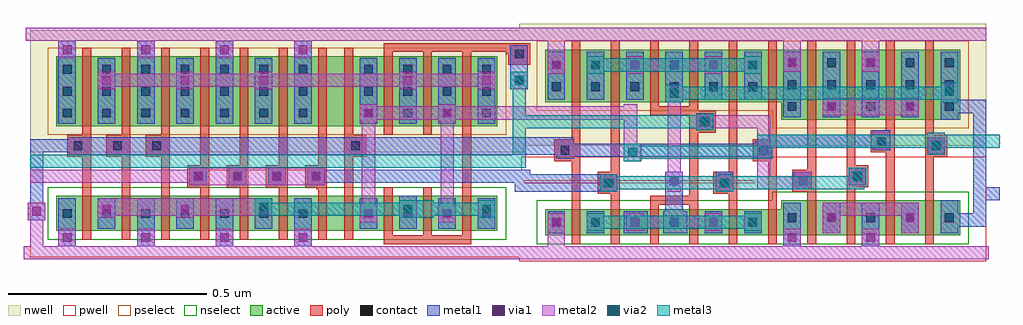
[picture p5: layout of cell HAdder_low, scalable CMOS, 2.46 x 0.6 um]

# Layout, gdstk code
import gdstk
lib = gdstk.Library(unit=1e-6, precision=1e-11)
def R(c, l, rs):  # rectangles x0, y0, x1, y1
    for r in rs: c.add(gdstk.rectangle(r[:2], r[2:], *l))
def A(c, l, x, y, w, h, nx, ny, dx, dy):  # array of equal rectangles
    R(c, l, [(x+i*dx, y+j*dy, x+i*dx+w, y+j*dy+h) for i in range(nx) for j in range(ny)])
contact = (25, 0)
pwell = (41, 0)
nwell = (42, 0)
active = (43, 0)
pselect = (44, 0)
nselect = (45, 0)
poly = (46, 0)
metal1 = (49, 0)
via1 = (50, 0)
metal2 = (51, 0)
via2 = (61, 0)
metal3 = (62, 0)

hadder_low = lib.new_cell('HAdder_low')
A(hadder_low, contact, -0.2585, -0.2585, 0.022, 0.022, 6, 2, 0.099, 0.341)
A(hadder_low, contact, 0.3355, -0.2475, 0.022, 0.022, 5, 2, 0.099, 0.2805)
A(hadder_low, contact, -1.4905, -0.2365, 0.022, 0.022, 7, 2, 0.099, 0.253)
A(hadder_low, contact, -0.7315, -0.2365, 0.022, 0.022, 4, 2, 0.099, 0.253)
A(hadder_low, contact, -1.1605, -0.143, 0.022, 0.022, 4, 1, 0.099, 0)
A(hadder_low, contact, -1.463, -0.066, 0.022, 0.022, 3, 1, 0.099, 0)
A(hadder_low, contact, -1.4905, 0.0715, 0.022, 0.022, 7, 2, 0.099, 0.055)
A(hadder_low, contact, -0.7315, 0.0715, 0.022, 0.022, 4, 2, 0.099, 0.055)
A(hadder_low, contact, 0.3355, 0.088, 0.022, 0.022, 5, 2, 0.099, 0.055)
A(hadder_low, contact, -0.2585, 0.1375, 0.022, 0.022, 6, 1, 0.099, 0)
R(hadder_low, contact, [(-0.1265,-0.1595,-0.1045,-0.1375), (0.165,-0.1595,0.187,-0.1375), (0.363,-0.154,0.385,-0.132), (0.5005,-0.143,0.5225,-0.121), (-0.2365,-0.077,-0.2145,-0.055), (0.264,-0.077,0.286,-0.055), (-0.7645,-0.066,-0.7425,-0.044), (0.6985,-0.066,0.7205,-0.044), (0.561,-0.055,0.583,-0.033), (0.1155,-0.0055,0.1375,0.0165), (-0.352,0.165,-0.33,0.187)])
A(hadder_low, pwell, -0.341, -0.3465, 0.187, 0.198, 6, 1, 0.099, 0)
A(hadder_low, pwell, -0.308, -0.3465, 0.22, 0.198, 6, 1, 0.099, 0)
A(hadder_low, pwell, 0.253, -0.3465, 0.187, 0.22, 5, 1, 0.099, 0)
A(hadder_low, pwell, 0.286, -0.3465, 0.22, 0.22, 4, 1, 0.099, 0)
A(hadder_low, pwell, -1.573, -0.3355, 0.187, 0.22, 7, 1, 0.099, 0)
A(hadder_low, pwell, -1.54, -0.3355, 0.22, 0.22, 7, 1, 0.099, 0)
A(hadder_low, pwell, -0.88, -0.3355, 0.22, 0.22, 4, 1, 0.099, 0)
A(hadder_low, pwell, -0.814, -0.3355, 0.187, 0.22, 4, 1, 0.099, 0)
R(hadder_low, pwell, [(-0.2475,-0.33,-0.2392,-0.165), (-0.2392,-0.33,-0.066,-0.165), (-0.1567,-0.33,-0.1485,-0.165), (-0.1485,-0.33,-0.1402,-0.165), (-0.0577,-0.33,-0.0495,-0.165), (-0.0495,-0.33,-0.0412,-0.165), (0.0412,-0.33,0.0495,-0.165), (0.0495,-0.33,0.0577,-0.165), (0.1402,-0.33,0.1485,-0.165), (0.1485,-0.33,0.1567,-0.165), (0.2392,-0.33,0.2475,-0.165), (0.2475,-0.33,0.2557,-0.165), (0.3382,-0.319,0.3465,-0.154), (0.3465,-0.319,0.3547,-0.154), (0.4372,-0.319,0.4455,-0.154), (0.4455,-0.319,0.4537,-0.154), (0.5363,-0.319,0.5445,-0.154), (0.5445,-0.319,0.5527,-0.154), (0.6352,-0.319,0.6435,-0.154), (0.6435,-0.319,0.6517,-0.154), (0.7342,-0.319,0.7425,-0.154), (-1.562,-0.297,-1.3887,-0.132), (-1.3887,-0.297,-1.3805,-0.132), (-1.3805,-0.297,-1.3722,-0.132), (-1.2897,-0.297,-1.2815,-0.132), (-1.2815,-0.297,-1.2732,-0.132), (-1.1907,-0.297,-1.1825,-0.132), (-1.1825,-0.297,-1.1742,-0.132), (-1.0917,-0.297,-1.0835,-0.132), (-1.0835,-0.297,-1.0752,-0.132), (-0.9927,-0.297,-0.9845,-0.132), (-0.9845,-0.297,-0.9762,-0.132), (-0.8937,-0.297,-0.8855,-0.132), (-0.8855,-0.297,-0.8772,-0.132), (-0.8112,-0.297,-0.7947,-0.132), (-0.7287,-0.297,-0.7205,-0.132), (-0.7205,-0.297,-0.7122,-0.132), (-0.6297,-0.297,-0.6215,-0.132), (-0.6215,-0.297,-0.6132,-0.132), (-0.5307,-0.297,-0.5225,-0.132), (-0.5225,-0.297,-0.5142,-0.132), (-0.4317,-0.297,-0.4235,-0.132), (-0.3355,-0.143,0.836,-0.11), (-0.3355,-0.1155,0.836,-0.0825)])
A(hadder_low, nwell, -1.573, -0.0715, 0.187, 0.308, 7, 1, 0.099, 0)
A(hadder_low, nwell, -1.54, -0.0715, 0.22, 0.308, 7, 1, 0.099, 0)
A(hadder_low, nwell, -0.88, -0.0715, 0.22, 0.308, 4, 1, 0.099, 0)
A(hadder_low, nwell, -0.814, -0.0715, 0.187, 0.308, 4, 1, 0.099, 0)
A(hadder_low, nwell, 0.253, -0.055, 0.187, 0.308, 5, 1, 0.099, 0)
A(hadder_low, nwell, 0.286, -0.055, 0.22, 0.308, 4, 1, 0.099, 0)
A(hadder_low, nwell, -0.341, -0.011, 0.187, 0.264, 6, 1, 0.099, 0)
A(hadder_low, nwell, -0.308, -0.011, 0.22, 0.264, 6, 1, 0.099, 0)
R(hadder_low, nwell, [(-0.3465,-0.055,0.253,-0.033), (0.3465,-0.055,0.3547,0.253), (0.4455,-0.055,0.4537,0.253), (0.5363,-0.055,0.5445,0.253), (0.5445,-0.055,0.5527,0.253), (0.6352,-0.055,0.6435,0.253), (0.6435,-0.055,0.6517,0.253), (0.7342,-0.055,0.7425,0.253), (-0.341,-0.033,0.2585,-0.011), (-0.8112,-0.0165,-0.7947,0.1485), (0.3382,-0.011,0.3465,0.253), (-1.562,0,-1.3887,0.165), (-1.4712,0,-1.298,0.165), (-1.463,0,-1.2897,0.165), (-1.3722,0,-1.199,0.165), (-1.364,0,-1.1907,0.165), (-1.2732,0,-1.1,0.165), (-1.265,0,-1.0917,0.165), (-1.1742,0,-1.001,0.165), (-1.166,0,-0.9927,0.165), (-1.0752,0,-0.902,0.165), (-1.067,0,-0.8937,0.165), (-0.9762,0,-0.803,0.165), (-0.968,0,-0.7947,0.165), (-0.7287,0,-0.7205,0.165), (-0.7205,0,-0.7122,0.165), (-0.6297,0,-0.6215,0.165), (-0.6215,0,-0.6132,0.165), (-0.5307,0,-0.5225,0.165), (-0.5225,0,-0.5142,0.165), (-0.4317,0,-0.4235,0.165), (0.4372,0.0165,0.4455,0.1815), (-0.2475,0.0385,-0.2392,0.2035), (-0.1567,0.0385,-0.1485,0.2035), (-0.1485,0.0385,-0.1402,0.2035), (-0.0495,0.0385,-0.0412,0.2035), (0.0412,0.0385,0.0495,0.2035), (0.0495,0.0385,0.0577,0.2035), (0.1402,0.0385,0.1485,0.2035), (0.1485,0.0385,0.1567,0.2035), (0.2392,0.0385,0.2475,0.2035), (0.2475,0.0385,0.2557,0.2035), (-0.0577,0.044,-0.0495,0.209)])
A(hadder_low, active, -0.275, -0.2805, 0.055, 0.066, 6, 1, 0.099, 0)
A(hadder_low, active, -0.242, -0.2805, 0.088, 0.066, 6, 1, 0.099, 0)
A(hadder_low, active, 0.319, -0.2805, 0.055, 0.088, 5, 1, 0.099, 0)
A(hadder_low, active, 0.352, -0.2805, 0.088, 0.088, 4, 1, 0.099, 0)
A(hadder_low, active, -1.507, -0.2695, 0.055, 0.088, 7, 1, 0.099, 0)
A(hadder_low, active, -1.474, -0.2695, 0.088, 0.088, 7, 1, 0.099, 0)
A(hadder_low, active, -0.814, -0.2695, 0.088, 0.088, 4, 1, 0.099, 0)
A(hadder_low, active, -0.748, -0.2695, 0.055, 0.088, 4, 1, 0.099, 0)
A(hadder_low, active, -1.507, -0.0055, 0.055, 0.176, 7, 1, 0.099, 0)
A(hadder_low, active, -1.474, -0.0055, 0.088, 0.176, 7, 1, 0.099, 0)
A(hadder_low, active, -0.814, -0.0055, 0.088, 0.176, 4, 1, 0.099, 0)
A(hadder_low, active, -0.748, -0.0055, 0.055, 0.176, 4, 1, 0.099, 0)
A(hadder_low, active, 0.319, 0.011, 0.055, 0.176, 5, 1, 0.099, 0)
A(hadder_low, active, 0.352, 0.011, 0.088, 0.176, 4, 1, 0.099, 0)
A(hadder_low, active, -0.275, 0.055, 0.055, 0.132, 6, 1, 0.099, 0)
A(hadder_low, active, -0.242, 0.055, 0.088, 0.132, 6, 1, 0.099, 0)
R(hadder_low, active, [(-0.2475,-0.264,-0.2392,-0.231), (-0.1732,-0.264,-0.132,-0.231), (-0.1567,-0.264,-0.1485,-0.231), (-0.1485,-0.264,-0.1402,-0.231), (-0.0577,-0.264,-0.0495,-0.231), (-0.0495,-0.264,-0.0412,-0.231), (0.0412,-0.264,0.0495,-0.231), (0.0495,-0.264,0.0577,-0.231), (0.1402,-0.264,0.1485,-0.231), (0.1485,-0.264,0.1567,-0.231), (0.2392,-0.264,0.2475,-0.231), (0.2475,-0.264,0.2557,-0.231), (0.3382,-0.253,0.3465,-0.22), (0.3465,-0.253,0.3547,-0.22), (0.4372,-0.253,0.4455,-0.22), (0.4455,-0.253,0.4537,-0.22), (0.5363,-0.253,0.5445,-0.22), (0.5445,-0.253,0.5527,-0.22), (0.6352,-0.253,0.6435,-0.22), (0.6435,-0.253,0.6517,-0.22), (0.7342,-0.253,0.7425,-0.22), (-1.496,-0.231,-1.4547,-0.198), (-1.3887,-0.231,-1.3805,-0.198), (-1.3805,-0.231,-1.3722,-0.198), (-1.2897,-0.231,-1.2815,-0.198), (-1.2815,-0.231,-1.2732,-0.198), (-1.1907,-0.231,-1.1825,-0.198), (-1.1825,-0.231,-1.1742,-0.198), (-1.0917,-0.231,-1.0835,-0.198), (-1.0835,-0.231,-1.0752,-0.198), (-0.9927,-0.231,-0.9845,-0.198), (-0.9845,-0.231,-0.9762,-0.198), (-0.8937,-0.231,-0.8855,-0.198), (-0.8855,-0.231,-0.8772,-0.198), (-0.8112,-0.231,-0.7947,-0.198), (-0.7287,-0.231,-0.7205,-0.198), (-0.7205,-0.231,-0.7122,-0.198), (-0.6297,-0.231,-0.6215,-0.198), (-0.6215,-0.231,-0.6132,-0.198), (-0.5307,-0.231,-0.5225,-0.198), (-0.5225,-0.231,-0.5142,-0.198), (-0.4317,-0.231,-0.4235,-0.198), (0.3465,0.011,0.3547,0.187), (0.4455,0.011,0.4537,0.187), (0.5363,0.011,0.5445,0.187), (0.5445,0.011,0.5527,0.187), (0.6352,0.011,0.6435,0.187), (0.6435,0.011,0.6517,0.187), (0.7342,0.011,0.7425,0.187), (-0.8112,0.0495,-0.7947,0.0825), (0.3382,0.055,0.3465,0.187), (-1.496,0.066,-1.4547,0.099), (-1.4052,0.066,-1.364,0.099), (-1.397,0.066,-1.3557,0.099), (-1.3062,0.066,-1.265,0.099), (-1.298,0.066,-1.2567,0.099), (-1.2072,0.066,-1.166,0.099), (-1.199,0.066,-1.1577,0.099), (-1.1082,0.066,-1.067,0.099), (-1.1,0.066,-1.0587,0.099), (-1.0092,0.066,-0.968,0.099), (-1.001,0.066,-0.9597,0.099), (-0.9102,0.066,-0.869,0.099), (-0.902,0.066,-0.8607,0.099), (-0.7287,0.066,-0.7205,0.099), (-0.7205,0.066,-0.7122,0.099), (-0.6297,0.066,-0.6215,0.099), (-0.6215,0.066,-0.6132,0.099), (-0.5307,0.066,-0.5225,0.099), (-0.5225,0.066,-0.5142,0.099), (-0.4317,0.066,-0.4235,0.099), (0.4372,0.0825,0.4455,0.1155), (-0.2475,0.1045,-0.2392,0.1375), (-0.1567,0.1045,-0.1485,0.1375), (-0.1485,0.1045,-0.1402,0.1375), (-0.0495,0.1045,-0.0412,0.1375), (0.0412,0.1045,0.0495,0.1375), (0.0495,0.1045,0.0577,0.1375), (0.1402,0.1045,0.1485,0.1375), (0.1485,0.1045,0.1567,0.1375), (0.2392,0.1045,0.2475,0.1375), (0.2475,0.1045,0.2557,0.1375), (-0.0577,0.11,-0.0495,0.143)])
A(hadder_low, pselect, -1.529, -0.0275, 0.099, 0.22, 7, 1, 0.099, 0)
A(hadder_low, pselect, -1.496, -0.0275, 0.132, 0.22, 7, 1, 0.099, 0)
A(hadder_low, pselect, -0.836, -0.0275, 0.132, 0.22, 4, 1, 0.099, 0)
A(hadder_low, pselect, -0.77, -0.0275, 0.099, 0.22, 4, 1, 0.099, 0)
A(hadder_low, pselect, 0.297, -0.011, 0.099, 0.22, 5, 1, 0.099, 0)
A(hadder_low, pselect, 0.33, -0.011, 0.132, 0.22, 4, 1, 0.099, 0)
A(hadder_low, pselect, -0.297, 0.033, 0.099, 0.176, 6, 1, 0.099, 0)
A(hadder_low, pselect, -0.264, 0.033, 0.132, 0.176, 6, 1, 0.099, 0)
R(hadder_low, pselect, [(0.3465,-0.011,0.3547,0.209), (0.4455,-0.011,0.4537,0.209), (0.5363,-0.011,0.5445,0.209), (0.5445,-0.011,0.5527,0.209), (0.6352,-0.011,0.6435,0.209), (0.6435,-0.011,0.6517,0.209), (0.7342,-0.011,0.7425,0.209), (-0.8112,0.0275,-0.7947,0.1045), (0.3382,0.033,0.3465,0.209), (-1.518,0.044,-1.4327,0.121), (-1.4272,0.044,-1.342,0.121), (-1.419,0.044,-1.3337,0.121), (-1.3282,0.044,-1.243,0.121), (-1.32,0.044,-1.2347,0.121), (-1.2292,0.044,-1.144,0.121), (-1.221,0.044,-1.1357,0.121), (-1.1302,0.044,-1.045,0.121), (-1.122,0.044,-1.0367,0.121), (-1.0312,0.044,-0.946,0.121), (-1.023,0.044,-0.9377,0.121), (-0.9322,0.044,-0.847,0.121), (-0.924,0.044,-0.8387,0.121), (-0.7287,0.044,-0.7205,0.121), (-0.7205,0.044,-0.7122,0.121), (-0.6297,0.044,-0.6215,0.121), (-0.6215,0.044,-0.6132,0.121), (-0.5307,0.044,-0.5225,0.121), (-0.5225,0.044,-0.5142,0.121), (-0.4317,0.044,-0.4235,0.121), (0.4372,0.0605,0.4455,0.1375), (-0.2475,0.0825,-0.2392,0.1595), (-0.1567,0.0825,-0.1485,0.1595), (-0.1485,0.0825,-0.1402,0.1595), (-0.0495,0.0825,-0.0412,0.1595), (0.0412,0.0825,0.0495,0.1595), (0.0495,0.0825,0.0577,0.1595), (0.1402,0.0825,0.1485,0.1595), (0.1485,0.0825,0.1567,0.1595), (0.2392,0.0825,0.2475,0.1595), (0.2475,0.0825,0.2557,0.1595), (-0.0577,0.088,-0.0495,0.165)])
A(hadder_low, nselect, -0.297, -0.3025, 0.099, 0.11, 6, 1, 0.099, 0)
A(hadder_low, nselect, -0.264, -0.3025, 0.132, 0.11, 6, 1, 0.099, 0)
A(hadder_low, nselect, 0.297, -0.3025, 0.099, 0.132, 5, 1, 0.099, 0)
A(hadder_low, nselect, 0.33, -0.3025, 0.132, 0.132, 4, 1, 0.099, 0)
A(hadder_low, nselect, -1.529, -0.2915, 0.099, 0.132, 7, 1, 0.099, 0)
A(hadder_low, nselect, -1.496, -0.2915, 0.132, 0.132, 7, 1, 0.099, 0)
A(hadder_low, nselect, -0.836, -0.2915, 0.132, 0.132, 4, 1, 0.099, 0)
A(hadder_low, nselect, -0.77, -0.2915, 0.099, 0.132, 4, 1, 0.099, 0)
R(hadder_low, nselect, [(-0.2475,-0.286,-0.2392,-0.209), (-0.1952,-0.286,-0.11,-0.209), (-0.1567,-0.286,-0.1485,-0.209), (-0.1485,-0.286,-0.1402,-0.209), (-0.0577,-0.286,-0.0495,-0.209), (-0.0495,-0.286,-0.0412,-0.209), (0.0412,-0.286,0.0495,-0.209), (0.0495,-0.286,0.0577,-0.209), (0.1402,-0.286,0.1485,-0.209), (0.1485,-0.286,0.1567,-0.209), (0.2392,-0.286,0.2475,-0.209), (0.2475,-0.286,0.2557,-0.209), (0.3382,-0.275,0.3465,-0.198), (0.3465,-0.275,0.3547,-0.198), (0.4372,-0.275,0.4455,-0.198), (0.4455,-0.275,0.4537,-0.198), (0.5363,-0.275,0.5445,-0.198), (0.5445,-0.275,0.5527,-0.198), (0.6352,-0.275,0.6435,-0.198), (0.6435,-0.275,0.6517,-0.198), (0.7342,-0.275,0.7425,-0.198), (-1.518,-0.253,-1.4327,-0.176), (-1.3887,-0.253,-1.3805,-0.176), (-1.3805,-0.253,-1.3722,-0.176), (-1.2897,-0.253,-1.2815,-0.176), (-1.2815,-0.253,-1.2732,-0.176), (-1.1907,-0.253,-1.1825,-0.176), (-1.1825,-0.253,-1.1742,-0.176), (-1.0917,-0.253,-1.0835,-0.176), (-1.0835,-0.253,-1.0752,-0.176), (-0.9927,-0.253,-0.9845,-0.176), (-0.9845,-0.253,-0.9762,-0.176), (-0.8937,-0.253,-0.8855,-0.176), (-0.8855,-0.253,-0.8772,-0.176), (-0.8112,-0.253,-0.7947,-0.176), (-0.7287,-0.253,-0.7205,-0.176), (-0.7205,-0.253,-0.7122,-0.176), (-0.6297,-0.253,-0.6215,-0.176), (-0.6215,-0.253,-0.6132,-0.176), (-0.5307,-0.253,-0.5225,-0.176), (-0.5225,-0.253,-0.5142,-0.176), (-0.4317,-0.253,-0.4235,-0.176)])
A(hadder_low, poly, -0.209, -0.3025, 0.022, 0.11, 6, 1, 0.099, 0)
A(hadder_low, poly, 0.385, -0.3025, 0.022, 0.132, 4, 1, 0.099, 0)
A(hadder_low, poly, -1.441, -0.2915, 0.022, 0.132, 7, 1, 0.099, 0)
A(hadder_low, poly, -0.781, -0.2915, 0.022, 0.132, 4, 1, 0.099, 0)
A(hadder_low, poly, -1.144, -0.1705, 0.022, 0.0495, 3, 1, 0.099, 0)
A(hadder_low, poly, -1.177, -0.1595, 0.055, 0.055, 4, 1, 0.099, 0)
A(hadder_low, poly, -1.1495, -0.1595, 0.0165, 0.055, 3, 1, 0.099, 0)
A(hadder_low, poly, -1.144, -0.143, 0.022, 0.1265, 3, 1, 0.099, 0)
A(hadder_low, poly, -1.4795, -0.0825, 0.055, 0.055, 3, 1, 0.099, 0)
A(hadder_low, poly, -1.452, -0.0825, 0.022, 0.055, 3, 1, 0.099, 0)
A(hadder_low, poly, -1.441, -0.066, 0.022, 0.0495, 3, 1, 0.099, 0)
A(hadder_low, poly, -1.441, -0.0275, 0.022, 0.22, 7, 1, 0.099, 0)
A(hadder_low, poly, -0.781, -0.0275, 0.022, 0.22, 4, 1, 0.099, 0)
A(hadder_low, poly, 0.385, -0.011, 0.022, 0.22, 4, 1, 0.099, 0)
A(hadder_low, poly, -0.209, 0.033, 0.022, 0.176, 6, 1, 0.099, 0)
R(hadder_low, poly, [(-0.682,-0.3025,-0.561,-0.2805), (-0.583,-0.3025,-0.462,-0.2805), (-0.209,-0.2035,-0.187,-0.055), (-0.11,-0.2035,-0.088,-0.1375), (-0.011,-0.2035,0.11,-0.1815), (0.088,-0.2035,0.11,0.0165), (0.187,-0.2035,0.209,-0.1375), (0.286,-0.2035,0.308,-0.055), (0.385,-0.1815,0.407,-0.132), (0.484,-0.1815,0.506,-0.121), (0.583,-0.1815,0.605,-0.033), (0.682,-0.1815,0.704,-0.044), (-0.143,-0.176,-0.088,-0.121), (-0.121,-0.176,-0.099,-0.121), (0.1485,-0.176,0.2035,-0.121), (0.176,-0.176,0.198,-0.121), (-1.441,-0.1705,-1.419,-0.044), (-1.342,-0.1705,-1.32,-0.0165), (-1.243,-0.1705,-1.221,-0.044), (-0.847,-0.1705,-0.825,-0.1265), (-0.781,-0.1705,-0.759,-0.044), (-0.484,-0.1705,-0.462,-0.0165), (0.3465,-0.1705,0.4015,-0.1155), (0.374,-0.1705,0.396,-0.1155), (-0.8525,-0.165,-0.836,-0.11), (-0.11,-0.1595,-0.088,0.044), (0.187,-0.1595,0.209,0.044), (0.484,-0.1595,0.539,-0.1045), (0.495,-0.1595,0.5115,-0.1045), (0.385,-0.154,0.407,0), (-0.847,-0.1485,-0.825,-0.0165), (0.484,-0.143,0.506,0), (-0.253,-0.0935,-0.198,-0.0385), (-0.231,-0.0935,-0.198,-0.0385), (0.2475,-0.0935,0.3025,-0.0385), (0.275,-0.0935,0.297,-0.0385), (-0.781,-0.0825,-0.726,-0.0275), (-0.77,-0.0825,-0.748,-0.0275), (0.682,-0.0825,0.737,-0.0275), (0.693,-0.0825,0.7095,-0.0275), (-0.209,-0.077,-0.187,0.044), (0.286,-0.077,0.308,0.044), (0.5445,-0.0715,0.5995,-0.0165), (0.572,-0.0715,0.594,-0.0165), (-0.781,-0.066,-0.759,-0.0165), (0.682,-0.066,0.704,0), (0.583,-0.055,0.605,0), (0.099,-0.022,0.154,0.033), (0.099,-0.022,0.1265,0.033), (0.088,-0.0055,0.11,0.044), (-0.011,0.022,0.11,0.044), (-0.3685,0.1485,-0.3135,0.2035), (-0.363,0.1485,-0.341,0.2035), (-0.374,0.176,-0.352,0.1925), (-0.682,0.1815,-0.561,0.2035), (-0.583,0.1815,-0.462,0.2035), (-0.484,0.1815,-0.352,0.2035)])
A(hadder_low, metal1, -1.5015, -0.308, 0.044, 0.044, 4, 2, 0.198, 0.473)
A(hadder_low, metal1, -1.5015, -0.308, 0.044, 0.11, 4, 1, 0.198, 0)
A(hadder_low, metal1, -0.2695, -0.275, 0.044, 0.055, 6, 1, 0.099, 0)
A(hadder_low, metal1, 0.4235, -0.275, 0.044, 0.077, 3, 1, 0.099, 0)
A(hadder_low, metal1, -1.5015, -0.264, 0.044, 0.077, 7, 1, 0.099, 0)
A(hadder_low, metal1, -0.7425, -0.264, 0.044, 0.077, 4, 1, 0.099, 0)
A(hadder_low, metal1, -1.474, -0.077, 0.044, 0.044, 3, 1, 0.099, 0)
A(hadder_low, metal1, -1.5015, 0, 0.044, 0.165, 7, 1, 0.099, 0)
A(hadder_low, metal1, -0.7425, 0, 0.044, 0.165, 4, 1, 0.099, 0)
A(hadder_low, metal1, 0.3245, 0.0165, 0.044, 0.165, 5, 1, 0.099, 0)
A(hadder_low, metal1, -1.5015, 0.0605, 0.044, 0.1485, 4, 1, 0.198, 0)
A(hadder_low, metal1, -1.4025, 0.0605, 0.044, 0.0715, 3, 1, 0.198, 0)
A(hadder_low, metal1, -0.2695, 0.0605, 0.044, 0.121, 6, 1, 0.099, 0)
A(hadder_low, metal1, -1.4025, 0.088, 0.044, 0.044, 3, 1, 0.198, 0)
A(hadder_low, metal1, -0.2695, 0.1265, 0.044, 0.044, 3, 1, 0.099, 0)
R(hadder_low, metal1, [(0.3245,-0.308,0.3685,-0.264), (0.3245,-0.308,0.3685,-0.2145), (0.5225,-0.308,0.5665,-0.264), (0.5225,-0.297,0.5665,-0.2145), (-0.077,-0.275,-0.0165,-0.22), (0.022,-0.275,0.0825,-0.22), (0.3245,-0.275,0.3685,-0.198), (0.4235,-0.275,0.4675,-0.198), (0.6215,-0.275,0.6655,-0.198), (0.7205,-0.275,0.7645,-0.198), (-0.2695,-0.2695,-0.2255,-0.2255), (-0.2695,-0.2695,-0.2255,-0.2255), (-0.1705,-0.2695,-0.1265,-0.2255), (-0.1705,-0.2695,-0.1265,-0.2255), (-0.0715,-0.2695,-0.0275,-0.2255), (-0.066,-0.2695,-0.022,-0.2255), (0.0275,-0.2695,0.0715,-0.132), (0.1265,-0.2695,0.1705,-0.2255), (0.1265,-0.2695,0.1705,-0.2255), (0.2255,-0.2695,0.2695,-0.2255), (0.2255,-0.2695,0.2695,-0.2255), (0.7205,-0.2585,0.7645,-0.1925), (0.726,-0.2585,0.814,-0.2255), (0.781,-0.2585,0.836,-0.2255), (0.803,-0.2585,0.836,-0.1595), (-1.4025,-0.2475,-1.3585,-0.1925), (-1.2045,-0.2475,-1.1605,-0.1925), (-1.0065,-0.2475,-0.9625,-0.187), (-0.7425,-0.2475,-0.6985,-0.2035), (-0.7425,-0.2475,-0.6985,-0.2035), (-0.6435,-0.2475,-0.5995,-0.1815), (-0.5445,-0.2475,-0.5005,-0.2035), (-0.5445,-0.2475,-0.5005,-0.2035), (-0.4455,-0.2475,-0.4015,-0.1925), (-1.5785,-0.242,-1.5345,-0.198), (-1.573,-0.242,-1.54,-0.198), (-1.4025,-0.2365,-1.3585,-0.1925), (-1.2045,-0.2365,-1.1605,-0.1925), (-0.6435,-0.2365,-0.5995,-0.1925), (-0.4455,-0.2365,-0.4015,-0.1925), (-1.573,-0.231,-1.54,-0.0385), (-1.0065,-0.231,-0.9625,-0.187), (0.803,-0.1925,0.836,0.0605), (0.803,-0.1925,0.869,-0.1595), (-0.352,-0.1705,-0.0935,-0.1265), (-0.3465,-0.1705,-0.3135,-0.132), (-0.1375,-0.1705,-0.0935,-0.1265), (-0.1375,-0.1705,-0.0935,-0.1265), (-0.1375,-0.1705,-0.0935,-0.1265), (-0.1375,-0.1705,-0.0935,-0.1265), (0.154,-0.1705,0.198,-0.1265), (0.154,-0.1705,0.198,-0.1265), (0.154,-0.1705,0.198,-0.121), (-0.132,-0.165,-0.099,-0.132), (0.0275,-0.165,0.0715,-0.121), (0.3465,-0.165,0.396,-0.121), (0.352,-0.165,0.396,-0.121), (0.352,-0.165,0.396,-0.121), (-1.1715,-0.154,-1.1275,-0.11), (-1.1715,-0.154,-1.1275,-0.11), (-1.1715,-0.154,-1.1275,-0.11), (-1.1715,-0.154,-1.1275,-0.11), (-1.0725,-0.154,-1.0285,-0.11), (-1.0725,-0.154,-1.0285,-0.11), (-1.0725,-0.154,-1.0285,-0.11), (-1.0725,-0.154,-1.0285,-0.11), (-0.9735,-0.154,-0.9295,-0.11), (-0.9735,-0.154,-0.9295,-0.11), (-0.9735,-0.154,-0.9295,-0.11), (-0.8745,-0.154,-0.8305,-0.11), (-0.8745,-0.154,-0.8305,-0.11), (-0.8745,-0.154,-0.8305,-0.11), (-0.3465,-0.154,-0.3135,-0.132), (-0.3465,-0.154,-0.3135,-0.1485), (0.4895,-0.154,0.5335,-0.11), (0.4895,-0.154,0.5335,-0.11), (0.4895,-0.154,0.5335,-0.11), (0.4895,-0.154,0.5335,-0.11), (-1.166,-0.1485,-1.133,-0.1155), (-1.067,-0.1485,-1.034,-0.1155), (-0.869,-0.1485,-0.5995,-0.1155), (-0.6325,-0.1485,-0.3135,-0.1155), (0.495,-0.1485,0.528,-0.1155), (-0.2475,-0.088,-0.2035,-0.033), (-0.2475,-0.088,-0.2035,-0.044), (0.253,-0.088,0.297,-0.044), (-0.242,-0.0825,0.088,-0.0495), (0.055,-0.0825,0.2915,-0.0495), (0.2585,-0.0825,0.2915,-0.0275), (-1.474,-0.077,-1.331,-0.033), (-1.375,-0.077,-1.232,-0.033), (-1.276,-0.077,-0.7315,-0.033), (-0.7755,-0.077,-0.7315,-0.033), (-0.7755,-0.077,-0.352,-0.033), (-0.396,-0.077,-0.2035,-0.033), (0.6875,-0.077,0.7315,-0.033), (0.6875,-0.077,0.7315,-0.033), (0.6875,-0.077,0.7315,-0.033), (0.6875,-0.077,0.7315,-0.033), (-1.573,-0.0715,-1.4355,-0.0385), (0.693,-0.0715,0.726,-0.0385), (0.55,-0.066,0.594,-0.022), (0.55,-0.066,0.594,-0.0165), (0.2585,-0.0605,0.5885,-0.0275), (0.1045,-0.0165,0.1485,0.0275), (0.1045,-0.0165,0.1485,0.0275), (0.1045,-0.0165,0.1485,0.0275), (0.11,-0.011,0.143,0.022), (0.11,-0.011,0.143,0.022), (-0.7425,0.0055,-0.6985,0.0495), (-0.7425,0.0055,-0.6985,0.1045), (-0.5445,0.0055,-0.5005,0.0495), (-0.5445,0.0055,-0.5005,0.1045), (0.7205,0.011,0.7645,0.121), (0.7205,0.0165,0.7645,0.121), (0.4235,0.022,0.4675,0.066), (0.4235,0.022,0.4675,0.121), (0.6215,0.022,0.6655,0.066), (0.6215,0.022,0.6655,0.121), (0.7205,0.022,0.7645,0.121), (0.726,0.0275,0.814,0.0605), (0.781,0.0275,0.836,0.0605), (0.0275,0.055,0.0715,0.099), (0.0275,0.055,0.0715,0.143), (-0.6435,0.0605,-0.5995,0.132), (-0.4455,0.0605,-0.4015,0.1265), (0.7205,0.0605,0.7645,0.1045), (0.726,0.066,0.759,0.099), (0.3245,0.077,0.3685,0.176), (0.5225,0.077,0.5665,0.176), (-0.6435,0.088,-0.5995,0.132), (-0.4455,0.088,-0.4015,0.132), (-0.363,0.088,-0.319,0.132), (-0.363,0.088,-0.319,0.198), (-0.2695,0.099,-0.2255,0.1705), (-0.0715,0.099,-0.0275,0.1705), (-0.165,0.1045,-0.132,0.165), (0.132,0.1045,0.165,0.165), (0.231,0.1045,0.264,0.165), (0.1265,0.1265,0.1705,0.1705), (0.2255,0.1265,0.2695,0.1705), (0.3245,0.132,0.3685,0.176), (0.5225,0.132,0.5665,0.176), (-0.363,0.154,-0.319,0.198)])
A(hadder_low, via1, -1.4905, -0.297, 0.022, 0.022, 4, 2, 0.198, 0.473)
A(hadder_low, via1, -0.2585, -0.2585, 0.022, 0.022, 3, 2, 0.099, 0.396)
A(hadder_low, via1, -1.0615, -0.143, 0.022, 0.022, 3, 1, 0.099, 0)
A(hadder_low, via1, -1.3915, 0.099, 0.022, 0.022, 3, 1, 0.198, 0)
R(hadder_low, via1, [(0.3355,-0.297,0.3575,-0.275), (0.5335,-0.297,0.5555,-0.275), (0.1375,-0.2585,0.1595,-0.2365), (0.2365,-0.2585,0.2585,-0.2365), (0.4345,-0.2475,0.4565,-0.2255), (0.6325,-0.2475,0.6545,-0.2255), (-0.7315,-0.2365,-0.7095,-0.2145), (-0.5335,-0.2365,-0.5115,-0.2145), (-1.5675,-0.231,-1.5455,-0.209), (-1.3915,-0.2255,-1.3695,-0.2035), (-1.1935,-0.2255,-1.1715,-0.2035), (-0.6325,-0.2255,-0.6105,-0.2035), (-0.4345,-0.2255,-0.4125,-0.2035), (-0.9955,-0.22,-0.9735,-0.198), (-0.1265,-0.1595,-0.1045,-0.1375), (-0.1265,-0.1595,-0.1045,-0.1375), (0.165,-0.1595,0.187,-0.1375), (0.0385,-0.154,0.0605,-0.132), (0.363,-0.154,0.385,-0.132), (-1.1605,-0.143,-1.1385,-0.121), (-1.1605,-0.143,-1.1385,-0.121), (-1.0615,-0.143,-1.0395,-0.121), (0.5005,-0.143,0.5225,-0.121), (0.5005,-0.143,0.5225,-0.121), (0.6985,-0.066,0.7205,-0.044), (0.6985,-0.066,0.7205,-0.044), (0.1155,-0.0055,0.1375,0.0165), (0.1155,-0.0055,0.1375,0.0165), (-0.7315,0.0165,-0.7095,0.0385), (-0.5335,0.0165,-0.5115,0.0385), (0.4345,0.033,0.4565,0.055), (0.6325,0.033,0.6545,0.055), (0.0385,0.066,0.0605,0.088), (0.7315,0.0715,0.7535,0.0935), (-0.6325,0.099,-0.6105,0.121), (-0.4345,0.099,-0.4125,0.121), (-0.352,0.099,-0.33,0.121), (0.1375,0.1375,0.1595,0.1595), (0.2365,0.1375,0.2585,0.1595), (0.3355,0.143,0.3575,0.165), (0.5335,0.143,0.5555,0.165)])
A(hadder_low, metal2, -1.496, -0.341, 0.231, 0.033, 3, 2, 0.198, 0.55)
A(hadder_low, metal2, -1.5015, -0.3245, 0.044, 0.0385, 4, 2, 0.198, 0.5115)
A(hadder_low, metal2, -1.5015, -0.308, 0.044, 0.044, 4, 2, 0.198, 0.473)
A(hadder_low, metal2, -1.1715, -0.154, 0.143, 0.044, 3, 1, 0.099, 0)
A(hadder_low, metal2, -1.0725, -0.154, 0.044, 0.044, 3, 1, 0.099, 0)
A(hadder_low, metal2, -1.4025, 0.088, 0.044, 0.044, 3, 1, 0.198, 0)
A(hadder_low, metal2, -1.397, 0.0935, 0.132, 0.033, 4, 1, 0.099, 0)
R(hadder_low, metal2, [(-1.5895,-0.341,-1.463,-0.308), (-1.5895,-0.341,-1.54,-0.308), (-1.573,-0.341,-1.54,-0.2695), (-0.902,-0.341,-0.704,-0.308), (-0.737,-0.341,-0.33,-0.308), (-0.363,-0.341,-0.297,-0.308), (-0.3465,-0.341,-0.242,-0.308), (-0.33,-0.341,-0.242,-0.308), (-0.275,-0.341,-0.231,-0.308), (-0.264,-0.341,0.363,-0.308), (0.33,-0.341,0.561,-0.308), (0.528,-0.341,0.8415,-0.308), (-0.2695,-0.3245,-0.2255,-0.2475), (0.3245,-0.3245,0.3685,-0.286), (0.5225,-0.3245,0.5665,-0.275), (0.3245,-0.308,0.3685,-0.264), (0.5225,-0.308,0.5665,-0.264), (-1.573,-0.3025,-1.54,-0.209), (0.4235,-0.275,0.4675,-0.198), (0.6215,-0.275,0.6655,-0.198), (-0.2695,-0.2695,-0.2255,-0.2255), (-0.1705,-0.2695,-0.1265,-0.2255), (-0.1705,-0.2695,-0.1265,-0.2255), (-0.1705,-0.2695,-0.1265,-0.2255), (-0.0715,-0.2695,-0.0275,-0.2255), (0.1265,-0.2695,0.1705,-0.2255), (0.2255,-0.2695,0.2695,-0.2255), (0.2255,-0.2695,0.2695,-0.2255), (0.2255,-0.2695,0.2695,-0.2255), (-0.066,-0.264,0.0165,-0.231), (-0.0165,-0.264,0.165,-0.231), (0.429,-0.253,0.462,-0.198), (0.627,-0.253,0.66,-0.198), (-0.7425,-0.2475,-0.6985,-0.2035), (-0.5445,-0.2475,-0.5005,-0.2035), (-1.5785,-0.242,-1.5345,-0.198), (-0.737,-0.242,-0.704,-0.11), (-0.539,-0.242,-0.506,0.044), (-1.4025,-0.2365,-1.3585,-0.1925), (-1.2045,-0.2365,-1.1605,-0.1925), (-0.6435,-0.2365,-0.5995,-0.1925), (-0.6435,-0.2365,-0.5995,-0.1925), (-0.6435,-0.2365,-0.5995,-0.1925), (-0.4455,-0.2365,-0.4015,-0.1925), (-0.4455,-0.2365,-0.4015,-0.1925), (-1.397,-0.231,-1.155,-0.187), (-1.3145,-0.231,-1.1605,-0.187), (-1.2045,-0.231,-1.0175,-0.187), (-1.0615,-0.231,-0.9625,-0.187), (-1.0065,-0.231,-0.9625,-0.187), (-1.0065,-0.231,-0.9625,-0.187), (-1.0065,-0.231,-0.9625,-0.187), (-0.44,-0.231,-0.407,-0.198), (0.429,-0.231,0.66,-0.198), (0.5335,-0.231,0.66,-0.198), (-1.309,-0.2255,-1.276,-0.1925), (-0.1375,-0.1705,-0.0935,-0.1265), (-0.1375,-0.1705,-0.0935,-0.1265), (-0.1375,-0.1705,-0.0935,-0.1265), (-0.1375,-0.1705,-0.0935,-0.1265), (0.033,-0.1705,0.066,-0.0495), (0.154,-0.1705,0.198,-0.1265), (0.154,-0.1705,0.198,-0.1265), (0.154,-0.1705,0.198,-0.1265), (0.0275,-0.165,0.0715,-0.121), (0.1595,-0.165,0.1925,-0.132), (0.1595,-0.165,0.1925,-0.132), (0.2585,-0.165,0.385,-0.132), (0.2585,-0.165,0.2915,0.022), (0.352,-0.165,0.396,-0.121), (0.352,-0.165,0.385,-0.1265), (-1.1715,-0.154,-1.1275,-0.11), (-1.1715,-0.154,-1.1275,-0.11), (-1.0725,-0.154,-1.0285,-0.11), (0.4895,-0.154,0.5335,-0.11), (0.4895,-0.154,0.5335,-0.11), (0.4895,-0.154,0.5335,-0.11), (0.4895,-0.154,0.5335,-0.11), (-1.573,-0.1485,-1.133,-0.1155), (-0.737,-0.143,-0.704,0.044), (-0.077,-0.0935,-0.033,-0.0495), (-0.077,-0.088,-0.033,-0.055), (0.033,-0.0825,0.066,0.0935), (0.6875,-0.077,0.7315,-0.033), (0.6875,-0.077,0.7315,-0.033), (0.6875,-0.077,0.7315,-0.033), (0.6875,-0.077,0.7315,-0.033), (-0.077,-0.0715,-0.044,0.033), (0.1045,-0.0165,0.1485,0.0275), (0.1045,-0.0165,0.1485,0.0275), (0.1045,-0.0165,0.1485,0.0275), (0.11,-0.011,0.143,0.022), (0.11,-0.011,0.2585,0.022), (0.2255,-0.011,0.2915,0.022), (-0.7425,0.0055,-0.6985,0.0495), (-0.5445,0.0055,-0.5005,0.0495), (-0.737,0.011,-0.6545,0.044), (-0.6875,0.011,-0.506,0.044), (-0.5225,0.011,-0.0605,0.044), (-0.077,0.011,-0.044,0.0495), (0.4235,0.022,0.4675,0.066), (0.4235,0.022,0.4675,0.066), (0.4235,0.022,0.6655,0.066), (0.6215,0.022,0.6655,0.066), (0.6215,0.022,0.6655,0.066), (0.0275,0.055,0.0715,0.099), (0.0275,0.055,0.0715,0.099), (0.0275,0.055,0.0715,0.099), (0.7205,0.0605,0.7645,0.1045), (0.7205,0.0605,0.7645,0.1045), (0.7205,0.0605,0.7645,0.1045), (-0.6435,0.088,-0.5995,0.132), (-0.4455,0.088,-0.4015,0.132), (-0.363,0.088,-0.319,0.132), (-0.363,0.088,-0.319,0.132), (-0.363,0.088,-0.319,0.132), (-1.001,0.0935,-0.792,0.1265), (-0.825,0.0935,-0.605,0.1265), (-0.638,0.0935,-0.506,0.1265), (-0.539,0.0935,-0.407,0.1265), (-0.2695,0.1265,-0.2255,0.1705), (-0.1705,0.1265,-0.1265,0.1705), (-0.1705,0.1265,-0.1265,0.1705), (-0.0715,0.1265,-0.0275,0.1705), (0.1265,0.1265,0.1705,0.1705), (0.2255,0.1265,0.2695,0.1705), (0.2255,0.1265,0.2695,0.1705), (-0.165,0.132,-0.132,0.165), (-0.0715,0.132,0.165,0.165), (-0.0715,0.132,-0.033,0.165), (0.231,0.132,0.264,0.165), (0.3245,0.132,0.3685,0.176), (0.5225,0.132,0.5665,0.176), (-0.2695,0.1485,-0.2255,0.2255), (0.3245,0.154,0.3685,0.2255), (0.5225,0.154,0.5665,0.2255), (-1.584,0.209,-1.463,0.242), (-1.584,0.209,-1.5345,0.242), (-0.902,0.209,-0.7975,0.242), (-0.8305,0.209,-0.3135,0.242), (-0.3465,0.209,-0.264,0.242), (-0.319,0.209,-0.264,0.242), (-0.319,0.209,-0.231,0.242), (-0.264,0.209,0.363,0.242), (0.33,0.209,0.561,0.242), (0.528,0.209,0.836,0.242)])
R(hadder_low, via2, [(-0.1595,-0.2585,-0.1375,-0.2365), (0.2365,-0.2585,0.2585,-0.2365), (-0.6325,-0.2255,-0.6105,-0.2035), (-0.4345,-0.2255,-0.4125,-0.2035), (-0.9955,-0.22,-0.9735,-0.198), (-0.1265,-0.1595,-0.1045,-0.1375), (0.165,-0.1595,0.187,-0.1375), (0.165,-0.1595,0.187,-0.1375), (0.5005,-0.143,0.5225,-0.121), (-0.066,-0.0825,-0.044,-0.0605), (0.6985,-0.066,0.7205,-0.044), (0.1155,-0.0055,0.1375,0.0165), (0.0385,0.066,0.0605,0.088), (0.7315,0.0715,0.7535,0.0935), (-0.352,0.099,-0.33,0.121), (-0.1595,0.1375,-0.1375,0.1595), (0.2365,0.1375,0.2585,0.1595)])
R(hadder_low, metal3, [(-0.1705,-0.2695,-0.1265,-0.2255), (0.2255,-0.2695,0.2695,-0.2255), (-0.165,-0.264,-0.0825,-0.231), (-0.1155,-0.264,0.264,-0.231), (-0.6435,-0.2365,-0.5995,-0.1925), (-0.6435,-0.2365,-0.5995,-0.1925), (-0.6435,-0.2365,-0.5555,-0.1925), (-0.4455,-0.2365,-0.4015,-0.1925), (-1.0065,-0.231,-0.9625,-0.187), (-1.001,-0.231,-0.605,-0.198), (-0.594,-0.231,-0.407,-0.198), (-0.594,-0.231,-0.561,-0.198), (-0.1375,-0.1705,-0.0935,-0.1265), (0.154,-0.1705,0.198,-0.1265), (0.154,-0.1705,0.198,-0.1265), (-0.132,-0.165,-0.033,-0.132), (-0.066,-0.165,0.1925,-0.132), (0.1595,-0.165,0.374,-0.132), (0.341,-0.165,0.528,-0.132), (0.4895,-0.154,0.5335,-0.11), (0.4895,-0.1485,0.5335,-0.132), (-1.573,-0.11,-0.3245,-0.077), (-0.3575,-0.11,-0.3245,0.022), (-0.077,-0.0935,-0.033,-0.0495), (-0.0715,-0.088,0.154,-0.055), (0.121,-0.088,0.2915,-0.055), (0.2585,-0.088,0.2915,-0.0275), (0.6875,-0.077,0.7315,-0.033), (0.6875,-0.077,0.7315,-0.022), (0.2585,-0.0605,0.638,-0.0275), (0.605,-0.0605,0.726,-0.0275), (0.693,-0.0605,0.869,-0.0275), (0.1045,-0.0165,0.1485,0.0275), (-0.3575,-0.011,-0.3245,0.022), (-0.3575,-0.011,-0.3245,0.1265), (-0.3575,-0.011,0.099,0.022), (0.066,-0.011,0.143,0.022), (0.0275,0.055,0.0715,0.099), (0.7205,0.055,0.7645,0.1045), (0.033,0.0605,0.3795,0.0935), (0.3465,0.0605,0.759,0.0935), (0.7205,0.0605,0.7645,0.1045), (-0.363,0.088,-0.319,0.132), (-0.1705,0.1265,-0.1265,0.1705), (0.2255,0.1265,0.2695,0.1705), (-0.165,0.132,0.264,0.165)])

lib.write_gds('HAdder_low.gds')
